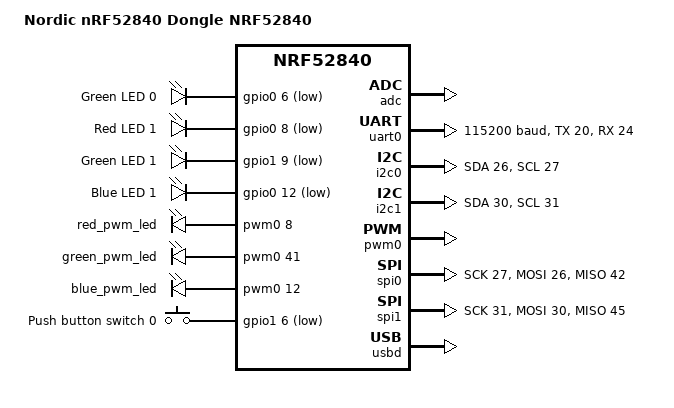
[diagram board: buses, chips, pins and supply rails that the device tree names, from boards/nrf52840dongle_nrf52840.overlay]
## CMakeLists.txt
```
# SPDX-License-Identifier: Apache-2.0

cmake_minimum_required(VERSION 3.20.0)

find_package(Zephyr REQUIRED HINTS $ENV{ZEPHYR_BASE})
project(nrf52-pca10059-zephyr)

FILE(GLOB app_sources src/*.c)
target_sources(app PRIVATE
  ${app_sources}
  )
```

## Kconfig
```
# Copyright (c) 2021 Nordic Semiconductor ASA
# SPDX-License-Identifier: Apache-2.0

mainmenu "Bluetooth: Peripheral TEMP"

if HAS_HW_NRF_TEMP

config SENSOR
	default y

config TEMP_NRF5
	default y

endif # HAS_HW_NRF_TEMP

source "Kconfig.zephyr"
```

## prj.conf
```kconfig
CONFIG_BT=y
CONFIG_BT_DEBUG_LOG=y
CONFIG_BT_SMP=y
CONFIG_BT_PERIPHERAL=y
CONFIG_BT_DIS=y
CONFIG_BT_DIS_PNP=n
CONFIG_BT_BAS=y
CONFIG_BT_DEVICE_NAME="Zephyr Body Temperature"
CONFIG_BT_DEVICE_APPEARANCE=768
CONFIG_BT_ATT_ENFORCE_FLOW=n
CONFIG_CBPRINTF_FP_SUPPORT=y
CONFIG_ADC=y
CONFIG_ADC_ASYNC=y


CONFIG_SERIAL=n

CONFIG_BT_CTLR_ADVANCED_FEATURES=y
CONFIG_BT_CTLR_CONN_RSSI=y
CONFIG_BT_CTLR_TX_PWR_DYNAMIC_CONTROL=y
```

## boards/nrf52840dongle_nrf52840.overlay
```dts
/*
 * Copyright (c) 2018 Nordic Semiconductor ASA
 * Copyright (c) 2017 Linaro Limited
 *
 * SPDX-License-Identifier: Apache-2.0
 */

/dts-v1/;
#include <nordic/nrf52840_qiaa.dtsi>



/ {
	model = "Nordic nRF52840 Dongle NRF52840";
	compatible = "nordic,nrf52840-dongle-nrf52840";

	chosen {
		zephyr,console = &uart0;
		zephyr,shell-uart = &uart0;
		zephyr,uart-mcumgr = &uart0;
		zephyr,bt-mon-uart = &uart0;
		zephyr,bt-c2h-uart = &uart0;
		zephyr,sram = &sram0;
		zephyr,flash = &flash0;
		zephyr,code-partition = &slot0_partition;
	};

	leds {
		compatible = "gpio-leds";
		led0_green: led_0 {
			gpios = <&gpio0 6 GPIO_ACTIVE_LOW>;
			label = "Green LED 0";
		};
		led1_red: led_1 {
			gpios = <&gpio0 8 GPIO_ACTIVE_LOW>;
			label = "Red LED 1";
		};
		led1_green: led_2 {
			gpios = <&gpio1 9 GPIO_ACTIVE_LOW>;
			label = "Green LED 1";
		};
		led1_blue: led_3 {
			gpios = <&gpio0 12 GPIO_ACTIVE_LOW>;
			label = "Blue LED 1";
		};
	};

	pwmleds {
		compatible = "pwm-leds";
		red_pwm_led: pwm_led_0 {
			pwms = <&pwm0 8>;
		};
		green_pwm_led: pwm_led_1 {
			pwms = <&pwm0 41>;
		};
		blue_pwm_led: pwm_led_2 {
			pwms = <&pwm0 12>;
		};
	};

	buttons {
		compatible = "gpio-keys";
		button0: button_0 {
			gpios = <&gpio1 6 (GPIO_PULL_UP | GPIO_ACTIVE_LOW)>;
			label = "Push button switch 0";
		};
	};

	/* These aliases are provided for compatibility with samples */
	aliases {
		sw0 = &button0;
		led0 = &led0_green;
		led1 = &led1_red;
		led2 = &led1_green;
		led3 = &led1_blue;
		led0-green = &led0_green;
		led1-red   = &led1_red;
		led1-green = &led1_green;
		led1-blue  = &led1_blue;
		pwm-led0 = &red_pwm_led;
		pwm-led1 = &green_pwm_led;
		pwm-led2 = &blue_pwm_led;
		red-pwm-led = &red_pwm_led;
		green-pwm-led = &green_pwm_led;
		blue-pwm-led = &blue_pwm_led;
	};
};

aliases {
	adcctrl = &adc;
}

&adc {
	status = "okay";
};

&gpiote {
	status = "okay";
};

&gpio0 {
	status = "okay";
};

&gpio1 {
	status = "okay";
};

&uart0 {
	compatible = "nordic,nrf-uarte";
	status = "okay";
	current-speed = <115200>;
	tx-pin = <20>;
	rx-pin = <24>;
	rx-pull-up;
	rts-pin = <17>;
	cts-pin = <22>;
	cts-pull-up;
};

&i2c0 {
	compatible = "nordic,nrf-twi";
	status = "okay";
	sda-pin = <26>;
	scl-pin = <27>;
};

&i2c1 {
	compatible = "nordic,nrf-twi";
	/* Cannot be used together with spi1. */
	/* status = "okay"; */
	sda-pin = <30>;
	scl-pin = <31>;
};

&pwm0 {
	status = "okay";
	ch0-pin = <8>;
	ch0-inverted;
	ch1-pin = <41>;
	ch1-inverted;
	ch2-pin = <12>;
	ch2-inverted;
};

/*
 * By default, not adding all available SPI instances (spi2, spi3) due to
 * limited GPIOs available on dongle board.
 */
&spi0 {
	compatible = "nordic,nrf-spi";
	/* Cannot be used together with i2c0. */
	/* status = "okay"; */
	sck-pin = <27>;
	mosi-pin = <26>;
	miso-pin = <42>;
};

&spi1 {
	compatible = "nordic,nrf-spi";
	status = "okay";
	sck-pin = <31>;
	mosi-pin = <30>;
	miso-pin = <45>;
};

/* Include flash partition table.
 * Two partition tables are available:
 * fstab-stock		-compatible with Nordic nRF5 bootloader, default
 * fstab-debugger	-to use an external debugger, w/o the nRF5 bootloader
 */
#include "fstab-stock.dts"

zephyr_udc0: &usbd {
	compatible = "nordic,nrf-usbd";
	status = "okay";
};
```

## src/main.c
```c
/* main.c - Application main entry point */

/*
 * Copyright (c) 2019 Aaron Tsui <aaron.tsui@outlook.com>
 *
 * SPDX-License-Identifier: Apache-2.0
 */

#include <zephyr/types.h>
#include <stddef.h>
#include <string.h>
#include <errno.h>
#include <sys/printk.h>
#include <sys/byteorder.h>
#include <zephyr.h>

#include <bluetooth/bluetooth.h>
#include <bluetooth/hci.h>
#include <bluetooth/hci_vs.h>
#include <bluetooth/conn.h>
#include <bluetooth/uuid.h>
#include <bluetooth/gatt.h> 

#include "hts.h"

// https://devzone.nordicsemi.com/f/nordic-q-a/73161/nrf-ncs---set-radio-tx-power/301671
// https://devzone.nordicsemi.com/f/nordic-q-a/22316/openthread-nrf52840-radio-tx-power-output
#define DEVICE_BEACON_TXPOWER_NUM  5
static const int8_t txp[DEVICE_BEACON_TXPOWER_NUM] = {4, 2, 0, -8, -20};

//static uint16_t default_conn_handle;

static const struct bt_data ad[] = {
	BT_DATA_BYTES(BT_DATA_FLAGS, (BT_LE_AD_GENERAL | BT_LE_AD_NO_BREDR)),
	BT_DATA_BYTES(BT_DATA_UUID16_ALL,
		      BT_UUID_16_ENCODE(BT_UUID_HTS_VAL)),
};

static void connected(struct bt_conn *conn, uint8_t err)
{
	if (err) {
		printk("Connection failed (err 0x%02x)\n", err);
	} else {
		printk("Connected\n");
	}
}

static void disconnected(struct bt_conn *conn, uint8_t reason)
{
	printk("Disconnected (reason 0x%02x)\n", reason);
}

BT_CONN_CB_DEFINE(conn_callbacks) = {
	.connected = connected,
	.disconnected = disconnected,
};

static void bt_ready(void)
{
	int err;

	printk("Bluetooth initialized\n");

	err = bt_le_adv_start(BT_LE_ADV_CONN_NAME, ad, ARRAY_SIZE(ad), NULL, 0);
	if (err) {
		printk("Advertising failed to start (err %d)\n", err);
		return;
	}

	printk("Advertising successfully started\n");
}

static void auth_cancel(struct bt_conn *conn)
{
	char addr[BT_ADDR_LE_STR_LEN];

	bt_addr_le_to_str(bt_conn_get_dst(conn), addr, sizeof(addr));

	printk("Pairing cancelled: %s\n", addr);
}

static struct bt_conn_auth_cb auth_cb_display = {
	.cancel = auth_cancel,
};

// BT_HCI_VS_LL_HANDLE_TYPE_ADV             
// BT_HCI_VS_LL_HANDLE_TYPE_CONN  
static void set_tx_power(uint8_t handle_type, uint16_t handle, int8_t tx_pwr_lvl)
{
	struct bt_hci_cp_vs_write_tx_power_level *cp;
	struct bt_hci_rp_vs_write_tx_power_level *rp;
	struct net_buf *buf, *rsp = NULL;
	int err;

	buf = bt_hci_cmd_create(BT_HCI_OP_VS_WRITE_TX_POWER_LEVEL,
				sizeof(*cp));
	if (!buf) {
		printk("Unable to allocate command buffer\n");
		return;
	}

	cp = net_buf_add(buf, sizeof(*cp));
	cp->handle = sys_cpu_to_le16(handle);
	cp->handle_type = handle_type;
	cp->tx_power_level = tx_pwr_lvl;

	err = bt_hci_cmd_send_sync(BT_HCI_OP_VS_WRITE_TX_POWER_LEVEL,
				   buf, &rsp);
	if (err) {
		uint8_t reason = rsp ?
			((struct bt_hci_rp_vs_write_tx_power_level *)
			  rsp->data)->status : 0;
		printk("Set Tx power err: %d reason 0x%02x\n", err, reason);
		return;
	}

	rp = (void *)rsp->data;
	printk("Actual Tx Power: %d\n", rp->selected_tx_power);

	net_buf_unref(rsp);
}


void main(void)
{
	int err;

	err = bt_enable(NULL);
	if (err) {
		printk("Bluetooth init failed (err %d)\n", err);
		return;
	}

	bt_ready();

	bt_conn_auth_cb_register(&auth_cb_display);
	/* Implement indicate. At the moment there is no suitable way
	 * of starting delayed work so we do it here
	 */
	while (1) {
		k_sleep(K_SECONDS(10));
		set_tx_power(BT_HCI_VS_LL_HANDLE_TYPE_ADV, 0, txp[4]);
		set_tx_power(BT_HCI_VS_LL_HANDLE_TYPE_CONN, 0, txp[4]);
		/* Temperature measurement*/
		hts_indicate();
	}
}
```

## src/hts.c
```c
/** @file
 *  @brief HTS Service sample
 */

/*
 * Copyright (c) 2020 SixOctets Systems
 * Copyright (c) 2019 Aaron Tsui <aaron.tsui@outlook.com>
 *
 * SPDX-License-Identifier: Apache-2.0
 */

#include <stdio.h>
#include <stddef.h>
#include <string.h>
#include <errno.h>

#include <zephyr.h>
#include <drivers/sensor.h>
#include <sys/printk.h>
#include <sys/byteorder.h>

#include <bluetooth/bluetooth.h>
#include <bluetooth/hci.h>
#include <bluetooth/conn.h>
#include <bluetooth/uuid.h>
#include <bluetooth/gatt.h>

#include <drivers/adc.h>


/**************** ADC start ******************************/

const struct device *ADC_DEVICE_NAME = DEVICE_DT_GET(DT_NODELABEL(adc));
//#define ADC_DEVICE_NAME		DEVICE_DT_GET(DT_NODELABEL(adc))//DT_ALIAS(adcctrl)
#define ADC_RESOLUTION		10
#define ADC_GAIN			ADC_GAIN_1_6
#define ADC_REFERENCE		ADC_REF_INTERNAL
#define ADC_ACQUISITION_TIME	ADC_ACQ_TIME(ADC_ACQ_TIME_MICROSECONDS, 40)
#define BUFFER_SIZE			6
#define BAD_ANALOG_READ -123


static bool _IsInitialized = false;
static uint8_t _LastChannel = 250;
static int16_t m_sample_buffer[BUFFER_SIZE];

// the channel configuration with channel not yet filled in
static struct adc_channel_cfg m_1st_channel_cfg = {
	.gain             = ADC_GAIN,
	.reference        = ADC_REFERENCE,
	.acquisition_time = ADC_ACQUISITION_TIME,
	.channel_id       = 0, // gets set during init
	.differential	  = 0,
#if CONFIG_ADC_CONFIGURABLE_INPUTS
	.input_positive   = 0, // gets set during init
#endif
};

// return device* for the adc
static const struct device* getAdcDevice(void)
{
	return device_get_binding(ADC_DEVICE_NAME->name);
}

// initialize the adc channel
static const struct device* init_adc(int channel)
{
	int ret;
	const struct device *adc_dev = getAdcDevice();
	if(_LastChannel != channel)
	{
		_IsInitialized = false;
		_LastChannel = channel;
	}

	if ( adc_dev != NULL && !_IsInitialized)
	{
		// strangely channel_id gets the channel id and input_positive gets id+1
		m_1st_channel_cfg.channel_id = channel;
#if CONFIG_ADC_CONFIGURABLE_INPUTS
        m_1st_channel_cfg.input_positive = channel+1,
#endif
		ret = adc_channel_setup(adc_dev, &m_1st_channel_cfg);
		if(ret != 0)
		{
			adc_dev = NULL;
		}
		else
		{
			_IsInitialized = true;	// we don't have any other analog users
		}
	}
	
	memset(m_sample_buffer, 0, sizeof(m_sample_buffer));
	return adc_dev;
}

// ------------------------------------------------
// read one channel of adc
// ------------------------------------------------
static int16_t readOneChannel(int channel)
{
	const struct adc_sequence sequence = {
		.options     = NULL,				// extra samples and callback
		.channels    = BIT(channel),		// bit mask of channels to read
		.buffer      = m_sample_buffer,		// where to put samples read
		.buffer_size = sizeof(m_sample_buffer),
		.resolution  = ADC_RESOLUTION,		// desired resolution
		.oversampling = 0,					// don't oversample
		.calibrate = 0						// don't calibrate
	};

	int ret;
	int16_t sample_value = BAD_ANALOG_READ;
	const struct device *adc_dev = init_adc(channel);
	if (adc_dev)
	{
		ret = adc_read(adc_dev, &sequence);
		if(ret == 0)
		{
			sample_value = m_sample_buffer[0];
		}
	}

	return sample_value;
}

// ------------------------------------------------
// high level read adc channel and convert to float voltage
// ------------------------------------------------
float AnalogRead(int channel)
{

	int16_t sv = readOneChannel(channel);
	if(sv == BAD_ANALOG_READ)
	{
		return sv;
	}

	// Convert the result to voltage
																				  
	int multip = 256;
	// find 2**adc_resolution
	switch(ADC_RESOLUTION)
				
	{
		default :
		case 8 :
			multip = 256;
			break;
		case 10 :
			multip = 1024;
			break;
		case 12 :
			multip = 4096;
			break;
		case 14 :
			multip = 16384;
			break;
	}
	
	// the 3.3 relates to the voltage divider being used in my circuit
	float fout = (sv * 3.3 / multip);
	return fout;
}
/**************** ADC end ******************************/

static uint8_t indicating;
static struct bt_gatt_indicate_params ind_params;

static void htmc_ccc_cfg_changed(const struct bt_gatt_attr *attr,
				 uint16_t value)
{
}

static void indicate_cb(struct bt_conn *conn,
			struct bt_gatt_indicate_params *params, uint8_t err)
{
}

static void indicate_destroy(struct bt_gatt_indicate_params *params)
{
	printk("Indication complete\n");
	indicating = 0U;
}

/* Health Thermometer Service Declaration */
BT_GATT_SERVICE_DEFINE(hts_svc,  //
	BT_GATT_PRIMARY_SERVICE(BT_UUID_HTS),
	BT_GATT_CHARACTERISTIC(BT_UUID_HTS_MEASUREMENT, BT_GATT_CHRC_INDICATE,
			       BT_GATT_PERM_NONE, NULL, NULL, NULL),
	BT_GATT_CCC(htmc_ccc_cfg_changed,
		    BT_GATT_PERM_READ | BT_GATT_PERM_WRITE),
	/* more optional Characteristics */
);

void hts_init(void)
{
}

void hts_indicate(void)
{
	static uint8_t htm[5];
	double temperature = AnalogRead(7);
	/* Calculate temperaature */
	temperature = (temperature - 0.4)/0.0195; /* V_out - V_0(400mV at 0dC) / T_c(19.5mV Temp. Coef.) */

	uint32_t mantissa;
	uint8_t exponent;

	mantissa = (uint32_t)(temperature * 100);
	exponent = (uint8_t)-2;

	htm[0] = 0; /* temperature in celcius */
	sys_put_le24(mantissa, (uint8_t *)&htm[1]);
	htm[4] = exponent;

	ind_params.attr = &hts_svc.attrs[2];
	ind_params.func = indicate_cb;
	ind_params.destroy = indicate_destroy;
	ind_params.data = &htm;
	ind_params.len = sizeof(htm);

	if (bt_gatt_indicate(NULL, &ind_params) == 0) {
		indicating = 1U;
	}	
}
```
